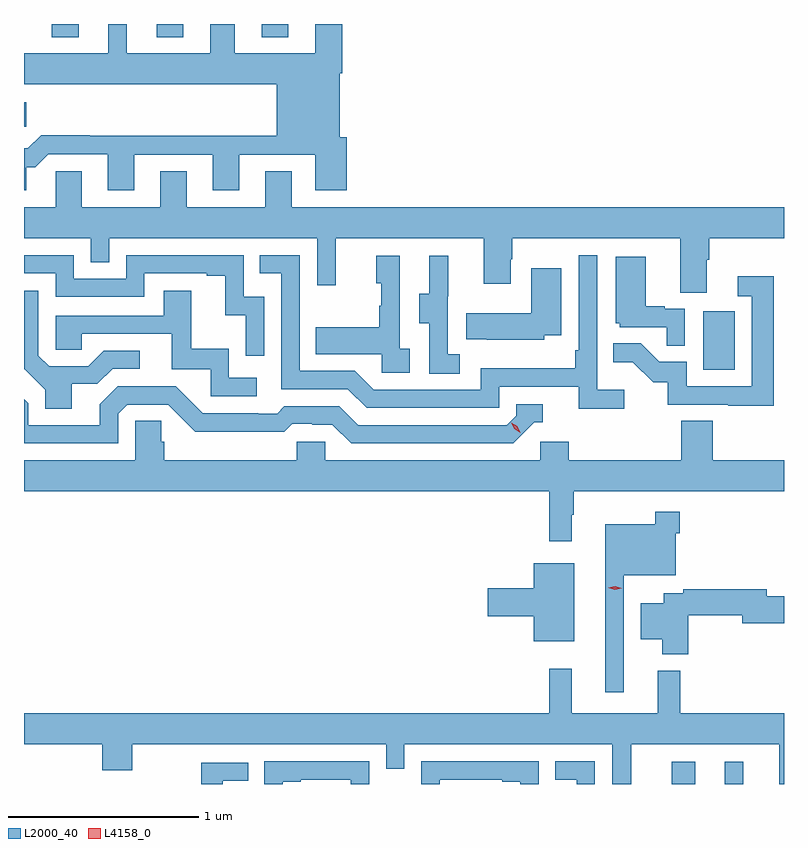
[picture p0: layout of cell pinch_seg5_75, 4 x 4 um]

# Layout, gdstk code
import gdstk
lib = gdstk.Library(unit=1e-6, precision=1e-09)
def R(c, l, rs):  # rectangles x0, y0, x1, y1
    for r in rs: c.add(gdstk.rectangle(r[:2], r[2:], *l))
def A(c, l, x, y, w, h, nx, ny, dx, dy):  # array of equal rectangles
    R(c, l, [(x+i*dx, y+j*dy, x+i*dx+w, y+j*dy+h) for i in range(nx) for j in range(ny)])
def P(c, l, *ps):  # polygons
    for p in ps: c.add(gdstk.Polygon(p, *l))
L2000_40 = (2000, 40)
L4158_0 = (4158, 0)

pinch_seg5_75 = lib.new_cell('pinch_seg5_75')
A(pinch_seg5_75, L2000_40, 1035.503, 911.099, 0.14, 0.069, 3, 1, 0.552, 0)
R(pinch_seg5_75, L2000_40, [(1038.764,907.168,1038.888,907.285), (1039.043,907.168,1039.142,907.285), (1038.932,909.348,1039.096,909.655), (1035.356,910.627,1035.367,910.756)])
P(pinch_seg5_75, L2000_40, [(1035.367,910.415),(1035.416,910.415),(1035.483,910.482),(1035.797,910.482),(1035.797,910.293),(1035.937,910.293),(1035.937,910.479),(1036.349,910.479),(1036.349,910.293),(1036.489,910.293),(1036.489,910.479),(1036.889,910.479),(1036.889,910.293),(1037.054,910.293),(1037.054,910.572),(1037.017,910.572),(1037.017,910.91),(1037.03,910.91),(1037.03,911.168),(1036.889,911.168),(1036.889,911.014),(1036.465,911.014),(1036.465,911.168),(1036.337,911.168),(1036.337,911.014),(1035.898,911.014),(1035.898,911.168),(1035.8,911.168),(1035.8,911.014),(1035.356,911.014),(1035.356,910.85),(1036.685,910.85),(1036.685,910.58),(1035.701,910.58),(1035.701,910.583),(1035.446,910.583),(1035.376,910.513),(1035.356,910.513),(1035.356,910.293),(1035.367,910.293)],
  [(1038.949,909.928),(1038.962,909.928),(1038.962,910.04),(1039.356,910.04),(1039.356,910.204),(1036.765,910.204),(1036.765,910.394),(1036.625,910.394),(1036.625,910.204),(1036.213,910.204),(1036.213,910.394),(1036.073,910.394),(1036.073,910.204),(1035.661,910.204),(1035.661,910.394),(1035.522,910.394),(1035.522,910.204),(1035.356,910.204),(1035.356,910.04),(1035.708,910.04),(1035.708,909.913),(1035.804,909.913),(1035.804,910.04),(1036.899,910.04),(1036.899,909.792),(1036.997,909.792),(1036.997,910.04),(1037.777,910.04),(1037.777,909.801),(1037.917,909.801),(1037.917,909.929),(1037.925,909.929),(1037.925,910.04),(1038.809,910.04),(1038.809,909.754),(1038.949,909.754)],
  [(1038.514,909.244),(1038.372,909.244),(1038.372,909.952),(1038.276,909.952),(1038.276,909.451),(1038.256,909.451),(1038.256,909.355),(1037.76,909.355),(1037.76,909.243),(1037.196,909.243),(1037.097,909.342),(1036.806,909.342),(1036.806,909.951),(1036.597,909.951),(1036.597,909.855),(1036.71,909.855),(1036.71,909.246),(1037.06,909.246),(1037.159,909.147),(1037.856,909.147),(1037.856,909.258),(1038.275,909.258),(1038.275,909.142),(1038.514,909.142)],
  [(1036.62,909.732),(1036.512,909.732),(1036.512,909.951),(1035.894,909.951),(1035.894,909.828),(1035.618,909.828),(1035.618,909.951),(1035.356,909.951),(1035.356,909.855),(1035.522,909.855),(1035.522,909.732),(1035.99,909.732),(1035.99,909.855),(1036.319,909.855),(1036.319,909.843),(1036.415,909.843),(1036.415,909.635),(1036.524,909.635),(1036.524,909.423),(1036.62,909.423)],
  [(1037.65,909.431),(1037.586,909.431),(1037.586,909.735),(1037.588,909.735),(1037.588,909.949),(1037.489,909.949),(1037.489,909.747),(1037.435,909.747),(1037.435,909.592),(1037.49,909.592),(1037.49,909.328),(1037.65,909.328)],
  [(1037.386,909.458),(1037.334,909.458),(1037.334,909.949),(1037.21,909.949),(1037.21,909.804),(1037.236,909.804),(1037.236,909.686),(1037.226,909.686),(1037.226,909.571),(1036.891,909.571),(1036.891,909.431),(1037.238,909.431),(1037.238,909.333),(1037.386,909.333)],
  [(1038.834,909.669),(1038.728,909.669),(1038.728,909.682),(1038.628,909.682),(1038.628,909.943),(1038.47,909.943),(1038.47,909.594),(1038.492,909.594),(1038.492,909.573),(1038.739,909.573),(1038.739,909.475),(1038.834,909.475)],
  [(1038.093,909.53),(1038.184,909.53),(1038.184,909.883),(1038.026,909.883),(1038.026,909.646),(1037.683,909.646),(1037.683,909.509),(1037.791,909.509),(1037.791,909.506),(1038.093,909.506)],
  [(1039.301,909.841),(1039.113,909.841),(1039.113,909.735),(1039.185,909.735),(1039.185,909.261),(1038.843,909.261),(1038.843,909.39),(1038.699,909.39),(1038.601,909.488),(1038.457,909.488),(1038.457,909.389),(1038.561,909.389),(1038.668,909.282),(1038.745,909.282),(1038.745,909.165),(1039.063,909.165),(1039.063,909.16),(1039.301,909.16)],
  [(1036.582,909.306),(1036.434,909.306),(1036.434,909.46),(1036.235,909.46),(1036.235,909.763),(1036.091,909.763),(1036.091,909.633),(1035.522,909.633),(1035.522,909.453),(1035.659,909.453),(1035.659,909.537),(1036.133,909.537),(1036.133,909.351),(1036.338,909.351),(1036.338,909.21),(1036.582,909.21)],
  [(1035.607,909.274),(1035.742,909.274),(1035.822,909.354),(1035.964,909.354),(1035.964,909.447),(1035.776,909.447),(1035.695,909.366),(1035.489,909.366),(1035.432,909.423),(1035.432,909.763),(1035.356,909.763),(1035.356,909.351),(1035.36,909.351),(1035.467,909.244),(1035.467,909.142),(1035.607,909.142)],
  [(1035.852,909.117),(1035.9,909.165),(1036.116,909.165),(1036.258,909.023),(1036.494,909.023),(1036.494,909.021),(1036.727,909.021),(1036.769,909.063),(1036.872,909.063),(1036.872,909.06),(1036.979,909.06),(1037.078,908.961),(1037.931,908.961),(1038.042,909.072),(1038.085,909.072),(1038.085,909.168),(1037.946,909.168),(1037.946,909.105),(1037.898,909.057),(1037.115,909.057),(1037.016,909.156),(1036.727,909.156),(1036.688,909.117),(1036.589,909.117),(1036.589,909.12),(1036.296,909.12),(1036.155,909.261),(1035.849,909.261),(1035.755,909.167),(1035.755,909.057),(1035.378,909.057),(1035.378,909.171),(1035.356,909.193),(1035.356,908.961),(1035.852,908.961)],
  [(1038.238,908.585),(1038.25,908.585),(1038.25,908.708),(1039.356,908.708),(1039.356,908.872),(1038.98,908.872),(1038.98,909.08),(1038.815,909.08),(1038.815,908.872),(1038.224,908.872),(1038.224,908.97),(1038.072,908.97),(1038.072,908.872),(1036.941,908.872),(1036.941,908.97),(1036.791,908.97),(1036.791,908.872),(1036.094,908.872),(1036.094,908.97),(1036.079,908.97),(1036.079,909.08),(1035.942,909.08),(1035.942,908.872),(1035.356,908.872),(1035.356,908.708),(1038.121,908.708),(1038.121,908.445),(1038.238,908.445)],
  [(1038.513,908.267),(1038.786,908.267),(1038.786,908.489),(1038.806,908.489),(1038.806,908.602),(1038.678,908.602),(1038.678,908.536),(1038.416,908.536),(1038.416,907.65),(1038.513,907.65)],
  [(1038.253,908.329),(1038.038,908.329),(1038.038,908.198),(1037.796,908.198),(1037.796,908.051),(1038.038,908.051),(1038.038,907.919),(1038.253,907.919)],
  [(1038.851,908.056),(1039.136,908.056),(1039.136,908.014),(1039.356,908.014),(1039.356,908.156),(1039.264,908.156),(1039.264,908.192),(1038.826,908.192),(1038.826,908.172),(1038.722,908.172),(1038.722,908.119),(1038.602,908.119),(1038.602,907.931),(1038.716,907.931),(1038.716,907.85),(1038.851,907.85)],
  [(1035.356,907.376),(1035.767,907.376),(1035.767,907.241),(1035.927,907.241),(1035.927,907.376),(1037.262,907.376),(1037.262,907.249),(1037.358,907.249),(1037.358,907.376),(1038.453,907.376),(1038.453,907.168),(1038.551,907.168),(1038.551,907.376),(1039.331,907.376),(1039.331,907.168),(1039.356,907.168),(1039.356,907.54),(1038.809,907.54),(1038.809,907.765),(1038.692,907.765),(1038.692,907.54),(1038.239,907.54),(1038.239,907.774),(1038.121,907.774),(1038.121,907.54),(1035.356,907.54)],
  [(1037.544,907.191),(1037.873,907.191),(1037.873,907.179),(1037.969,907.179),(1037.969,907.168),(1038.066,907.168),(1038.066,907.287),(1037.448,907.287),(1037.448,907.168),(1037.544,907.168)],
  [(1036.717,907.179),(1036.813,907.179),(1036.813,907.191),(1037.076,907.191),(1037.076,907.168),(1037.172,907.168),(1037.172,907.287),(1036.62,907.287),(1036.62,907.168),(1036.717,907.168)],
  [(1038.36,907.287),(1038.151,907.287),(1038.151,907.191),(1038.264,907.191),(1038.264,907.168),(1038.36,907.168)],
  [(1036.401,907.184),(1036.535,907.184),(1036.535,907.281),(1036.29,907.281),(1036.29,907.168),(1036.401,907.168)])
P(pinch_seg5_75, L4158_0, [(1037.968,909.018),(1037.937,909.038),(1037.921,909.07),(1037.921,909.07),(1037.921,909.07),(1037.952,909.051),(1037.968,909.019),(1037.968,909.018)],
  [(1038.466,908.19),(1038.431,908.202),(1038.43,908.202),(1038.431,908.202),(1038.467,908.21),(1038.502,908.198),(1038.503,908.198),(1038.502,908.198)])

lib.write_gds('pinch_seg5_75.gds')
